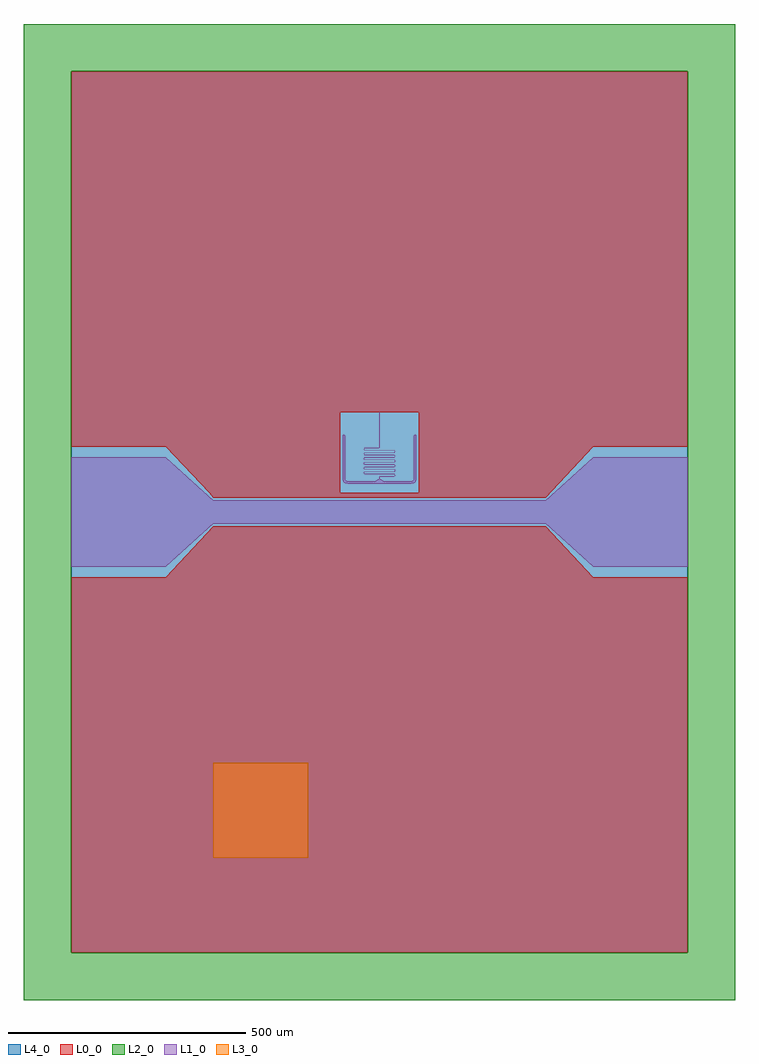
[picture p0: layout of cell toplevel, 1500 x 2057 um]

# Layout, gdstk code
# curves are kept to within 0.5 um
import gdstk
lib = gdstk.Library(unit=1e-6, precision=1e-09)
def R(c, l, rs):  # rectangles x0, y0, x1, y1
    for r in rs: c.add(gdstk.rectangle(r[:2], r[2:], *l))
def P(c, l, *ps):  # polygons
    for p in ps: c.add(gdstk.Polygon(p, *l))
L0_0 = (0, 0)
L1_0 = (1, 0)
L2_0 = (2, 0)
L3_0 = (3, 0)
L4_0 = (4, 0)

toplevel = lib.new_cell('toplevel')
P(toplevel, L0_0, [(450,137.954),(650,137.954),(650,928.5),(-650,928.5),(-650,137.954),(-450,137.954),(-359.267,40.05),(-82.5,40.05),(-82.5,210.05),(82.5,210.05),(82.5,40.05),(-359.267,40.05),(-350,30.05),(350,30.05)],
  [(650,-928.5),(650,-137.954),(450,-137.954),(350,-30.05),(-350,-30.05),(-450,-137.954),(-650,-137.954),(-650,-928.5)])
P(toplevel, L1_0, [(-75.109,162.548),(-76.768,161.818),(-77.498,160.159),(-77.495,70.812),(-76.51,65.287),(-73.502,61.704),(-70.563,60.468),(-66.738,60.055),(66.879,60.057),(72.263,61.039),(75.811,63.995),(77.108,67.095),(77.499,71.228),(77.5,160.05),(76.343,162.158),(73.846,162.267),(72.502,160.159),(72.493,70.72),(72.07,67.648),(70.83,65.931),(66.336,65.051),(-66.125,65.05),(-70.871,65.959),(-72.426,69.418),(-72.502,160.159),(-73.311,161.893)],
  [(0.3,70.05),(0.377,73.78),(0.737,74.414),(1.46,74.711),(30.415,74.75),(31.515,74.884),(32.052,75.15),(32.444,75.562),(32.793,76.839),(32.666,79.065),(32.311,79.713),(31.745,80.128),(30.383,80.35),(-30.793,80.362),(-31.726,80.655),(-32.142,81.4),(-32.158,83.609),(-31.977,84.152),(-31.638,84.506),(-30.392,84.75),(30.902,84.769),(32.113,85.197),(32.491,85.637),(32.717,86.221),(32.747,88.728),(32.51,89.43),(32.083,89.927),(31.387,90.252),(30.437,90.35),(-30.793,90.362),(-31.699,90.635),(-32.123,91.32),(-32.177,93.468),(-31.793,94.388),(-31.256,94.667),(-30.422,94.75),(30.891,94.768),(32.073,95.165),(32.69,96.116),(32.771,98.555),(32.607,99.227),(32.276,99.752),(31.538,100.208),(30.469,100.349),(-30.803,100.363),(-31.686,100.626),(-32.114,101.285),(-32.186,103.372),(-31.88,104.295),(-31.333,104.644),(-30.443,104.75),(30.891,104.768),(32.052,105.15),(32.673,106.058),(32.781,108.452),(32.369,109.643),(31.619,110.18),(30.48,110.349),(-30.675,110.356),(-31.417,110.485),(-31.89,110.818),(-32.14,111.391),(-32.172,113.515),(-31.969,114.167),(-31.512,114.574),(-30.744,114.741),(30.567,114.752),(31.934,115.072),(32.369,115.457),(32.658,116.012),(32.799,118.074),(32.607,119.227),(31.967,120.008),(30.88,120.333),(-30.494,120.351),(-31.558,120.548),(-32.083,121.183),(-32.2,122.9),(-32.077,123.934),(-31.645,124.502),(-30.813,124.737),(30.556,124.752),(31.902,125.053),(32.345,125.426),(32.638,125.954),(32.799,127.998),(32.612,129.215),(31.978,130.001),(30.88,130.333),(-30.494,130.351),(-31.535,130.537),(-32.065,131.133),(-32.199,132.046),(-32.104,133.849),(-31.738,134.435),(-31.022,134.714),(-1.822,134.755),(-0.598,135.053),(0.107,135.873),(0.3,137.188),(0.3,210.05),(-0.3,210.05),(-0.3,137.2),(-0.448,136.101),(-0.95,135.544),(-1.905,135.353),(-31.155,135.3),(-32.113,134.903),(-32.654,134.1),(-32.799,132.07),(-32.621,130.908),(-32.32,130.397),(-31.88,130.04),(-30.546,129.752),(30.813,129.737),(31.645,129.502),(32.077,128.934),(32.2,127.221),(32.074,126.158),(31.55,125.544),(30.494,125.351),(-30.88,125.333),(-31.967,125.008),(-32.607,124.227),(-32.799,123.052),(-32.651,120.989),(-32.361,120.447),(-31.924,120.065),(-30.556,119.752),(30.813,119.737),(31.638,119.506),(32.074,118.942),(32.2,117.962),(32.089,116.2),(31.573,115.556),(30.504,115.351),(-30.801,115.339),(-31.79,115.106),(-32.444,114.538),(-32.752,113.693),(-32.8,112.294),(-32.708,111.186),(-32.345,110.426),(-31.688,109.947),(-30.733,109.758),(30.443,109.75),(31.342,109.641),(31.895,109.276),(32.187,108.353),(32.112,106.277),(31.686,105.626),(30.803,105.363),(-30.48,105.349),(-31.596,105.188),(-32.345,104.674),(-32.778,103.486),(-32.68,101.081),(-32.062,100.157),(-30.891,99.768),(30.433,99.75),(31.291,99.657),(31.838,99.343),(32.182,98.42),(32.119,96.303),(31.693,95.631),(30.803,95.363),(-30.448,95.349),(-31.469,95.23),(-32.193,94.835),(-32.567,94.318),(-32.761,93.635),(-32.702,91.163),(-32.093,90.181),(-30.902,89.769),(30.412,89.75),(31.194,89.682),(31.726,89.445),(32.017,89.077),(32.169,88.534),(32.132,86.356),(31.706,85.64),(30.793,85.362),(-30.415,85.35),(-31.282,85.277),(-31.934,85.028),(-32.437,84.549),(-32.724,83.844),(-32.734,81.303),(-32.516,80.681),(-32.144,80.222),(-31.596,79.912),(-30.902,79.769),(30.371,79.75),(31.512,79.574),(31.91,79.256),(32.136,78.727),(32.173,76.594),(31.827,75.746),(31.012,75.385),(2.085,75.35),(1.02,75.227),(0.233,74.762),(-0.202,73.937),(-0.3,70.05)],
  [(10,65.05),(0.3,70.05),(-0.3,70.05),(-10,65.05)],
  [(-350,25.05),(-450,115),(-650,115),(-650,-115),(-450,-115),(-350,-25.05),(350,-25.05),(450,-115),(650,-115),(650,115),(450,115),(350,25.05)])
P(toplevel, L2_0, [(750,1028.5),(-750,1028.5),(-750,-928.5),(-650,-928.5),(-650,928.5),(650,928.5),(650,-928.5),(-650,-928.5),(-750,-928.5),(-750,-1028.5),(750,-1028.5)])
R(toplevel, L3_0, [(-350,-728.5,-150,-528.5)])
R(toplevel, L4_0, [(-650,-928.5,650,928.5)])

lib.write_gds('toplevel.gds')
